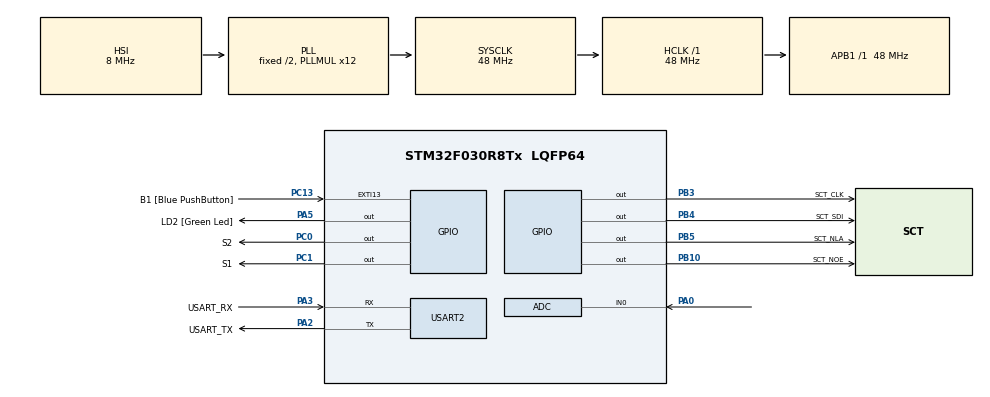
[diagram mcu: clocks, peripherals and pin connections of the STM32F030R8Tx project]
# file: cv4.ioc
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ADC.ContinuousConvMode=ENABLE
ADC.Overrun=ADC_OVR_DATA_OVERWRITTEN
ADC.SamplingTime=ADC_SAMPLETIME_239CYCLES_5
Mcu.Family=STM32F0
Mcu.Name=STM32F030R8Tx
Mcu.Package=LQFP64
NVIC.ADC1_IRQn=true\:0\:0\:false\:false\:true\:true\:true\:true
PA0.Mode=IN0
PA0.Signal=ADC_IN0
PA13.GPIO_Label=TMS
PA13.Mode=Serial_Wire
PA13.Signal=SYS_SWDIO
PA14.GPIO_Label=TCK
PA14.Mode=Serial_Wire
PA14.Signal=SYS_SWCLK
PA2.GPIO_Label=USART_TX
PA2.GPIO_Mode=GPIO_MODE_AF_PP
PA2.GPIO_PuPd=GPIO_NOPULL
PA2.GPIO_Speed=GPIO_SPEED_FREQ_LOW
PA2.Mode=Asynchronous
PA2.Signal=USART2_TX
PA3.GPIO_Label=USART_RX
PA3.GPIO_Mode=GPIO_MODE_AF_PP
PA3.GPIO_PuPd=GPIO_NOPULL
PA3.GPIO_Speed=GPIO_SPEED_FREQ_LOW
PA3.Mode=Asynchronous
PA3.Signal=USART2_RX
PA5.GPIO_Label=LD2 [Green Led]
PA5.GPIO_Mode=GPIO_MODE_OUTPUT_PP
PA5.GPIO_PuPd=GPIO_NOPULL
PA5.GPIO_Speed=GPIO_SPEED_FREQ_LOW
PA5.Signal=GPIO_Output
PB10.GPIO_Label=SCT_NOE
PB10.Signal=GPIO_Output
PB3.GPIO_Label=SCT_CLK
PB3.Signal=GPIO_Output
PB4.GPIO_Label=SCT_SDI
PB4.Signal=GPIO_Output
PB5.GPIO_Label=SCT_NLA
PB5.Signal=GPIO_Output
PC0.GPIO_Label=S2
PC0.GPIO_PuPd=GPIO_PULLUP
PC0.Signal=GPIO_Output
PC1.GPIO_Label=S1
PC1.GPIO_PuPd=GPIO_PULLUP
PC1.Signal=GPIO_Output
PC13.GPIO_Label=B1 [Blue PushButton]
PC13.GPIO_ModeDefaultEXTI=GPIO_MODE_IT_FALLING
PC13.Signal=GPXTI13
PC14-OSC32_IN.Mode=LSE-External-Oscillator
PC14-OSC32_IN.Signal=RCC_OSC32_IN
PC15-OSC32_OUT.Mode=LSE-External-Oscillator
PC15-OSC32_OUT.Signal=RCC_OSC32_OUT
PF0-OSC_IN.Mode=HSE-External-Clock-Source
PF0-OSC_IN.Signal=RCC_OSC_IN
PF1-OSC_OUT.Signal=RCC_OSC_OUT
ProjectManager.HeapSize=0x200
ProjectManager.StackSize=0x400
ProjectManager.TargetToolchain=STM32CubeIDE
RCC.AHBFreq_Value=48000000
RCC.APB1Freq_Value=48000000
RCC.APB1TimFreq_Value=48000000
RCC.HCLKFreq_Value=48000000
RCC.PLLMUL=RCC_PLL_MUL12
RCC.SYSCLKFreq_VALUE=48000000
RCC.SYSCLKSource=RCC_SYSCLKSOURCE_PLLCLK
USART2.VirtualMode-Asynchronous=VM_ASYNC
VP_ADC_TempSens_Input.Mode=IN-TempSens
VP_ADC_Vref_Input.Mode=IN-Vrefint
board=NUCLEO-F030R8

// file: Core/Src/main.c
/* USER CODE BEGIN Header */
/**
 ******************************************************************************
 * @file           : main.c
 * @brief          : Main program body
 ******************************************************************************
 * @attention
 *
 * Copyright (c) 2023 STMicroelectronics.
 * All rights reserved.
 *
 * This software is licensed under terms that can be found in the LICENSE file
 * in the root directory of this software component.
 * If no LICENSE file comes with this software, it is provided AS-IS.
 *
 ******************************************************************************
 */
/* USER CODE END Header */
#include "main.h"

/* USER CODE BEGIN Includes */
#include "sct.h"
/* USER CODE END Includes */

ADC_HandleTypeDef hadc;

UART_HandleTypeDef huart2;

void SystemClock_Config(void);
static void MX_GPIO_Init(void);
static void MX_USART2_UART_Init(void);
static void MX_ADC_Init(void);

/* USER CODE BEGIN 0 */
static volatile uint32_t raw_pot;
static volatile uint32_t raw_temp;
static volatile uint32_t raw_volt;

void HAL_ADC_ConvCpltCallback(ADC_HandleTypeDef* hadc)
{
	static uint32_t avg_pot;
	static uint8_t channel;
	if (channel == 0){
		raw_pot = avg_pot / 4096;
		avg_pot -= raw_pot;
		avg_pot += HAL_ADC_GetValue(hadc);
	} else if (channel == 1){
		raw_temp = HAL_ADC_GetValue(hadc);
	} else if (channel == 2){
		raw_volt = HAL_ADC_GetValue(hadc);
	}

	if (__HAL_ADC_GET_FLAG(hadc, ADC_FLAG_EOS)) channel = 0;
	else channel++;

	/*raw_pot = HAL_ADC_GetValue(hadc);
	 */
}

/* USER CODE END 0 */

int main(void)
{

	/* MCU Configuration--------------------------------------------------------*/

	/* Reset of all peripherals, Initializes the Flash interface and the Systick. */
	HAL_Init();

	/* Configure the system clock */
	SystemClock_Config();

	/* Initialize all configured peripherals */
	MX_GPIO_Init();
	MX_USART2_UART_Init();
	MX_ADC_Init();
	/* USER CODE BEGIN 2 */
	HAL_ADCEx_Calibration_Start(&hadc);
	HAL_ADC_Start_IT(&hadc);

	/* USER CODE END 2 */
	/* Temperature sensor calibration value address */
#define TEMP110_CAL_ADDR ((uint16_t*) ((uint32_t) 0x1FFFF7C2))
#define TEMP30_CAL_ADDR ((uint16_t*) ((uint32_t) 0x1FFFF7B8))
	/* Internal voltage reference calibration value address */
#define VREFINT_CAL_ADDR ((uint16_t*) ((uint32_t) 0x1FFFF7BA))

	/* Infinite loop */
	/* USER CODE BEGIN WHILE */
	while (1)
	{
		sct_value((raw_pot*(500+1))/4096, (raw_pot*9)/4096);

		uint32_t voltage = 330 * (*VREFINT_CAL_ADDR) / raw_volt;
		int32_t temperature = (raw_temp - (int32_t)(*TEMP30_CAL_ADDR));
		temperature = temperature * (int32_t)(110 - 30);
		temperature = temperature / (int32_t)(*TEMP110_CAL_ADDR - *TEMP30_CAL_ADDR);
		temperature = temperature + 30;

		static enum { SHOW_POT, SHOW_VOLT, SHOW_TEMP } state = SHOW_POT;

		uint32_t old_s1;
		uint32_t old_s2;
		uint32_t new_s1 = HAL_GPIO_ReadPin(S1_GPIO_Port, S1_Pin);
		uint32_t new_s2 = HAL_GPIO_ReadPin(S1_GPIO_Port, S1_Pin);

		if(old_s1 != new_s1){

		}

		switch (state){
		case SHOW_POT:
			sct_value((raw_pot*(500+1))/4096, (raw_pot*9)/4096);
			state = SHOW_POT;
			HAL_Delay(1000);
			break;
		case SHOW_VOLT:
			sct_value(voltage, (raw_pot*9)/4096);
			state = SHOW_POT;
			HAL_Delay(1000);
		case SHOW_TEMP:
			sct_value(temperature, (raw_pot*9)/4096);
			state = SHOW_POT;
			HAL_Delay(1000);
		}

		/* USER CODE END WHILE */

	}
}

void SystemClock_Config(void)
{
	RCC_OscInitTypeDef RCC_OscInitStruct = {0};
	RCC_ClkInitTypeDef RCC_ClkInitStruct = {0};

	/** Initializes the RCC Oscillators according to the specified parameters
	 * in the RCC_OscInitTypeDef structure.
	 */
	RCC_OscInitStruct.OscillatorType = RCC_OSCILLATORTYPE_HSI|RCC_OSCILLATORTYPE_HSI14;
	RCC_OscInitStruct.HSIState = RCC_HSI_ON;
	RCC_OscInitStruct.HSI14State = RCC_HSI14_ON;
	RCC_OscInitStruct.HSICalibrationValue = RCC_HSICALIBRATION_DEFAULT;
	RCC_OscInitStruct.HSI14CalibrationValue = 16;
	RCC_OscInitStruct.PLL.PLLState = RCC_PLL_ON;
	RCC_OscInitStruct.PLL.PLLSource = RCC_PLLSOURCE_HSI;
	RCC_OscInitStruct.PLL.PLLMUL = RCC_PLL_MUL12;
	RCC_OscInitStruct.PLL.PREDIV = RCC_PREDIV_DIV1;
	if (HAL_RCC_OscConfig(&RCC_OscInitStruct) != HAL_OK)
	{
		Error_Handler();
	}

	/** Initializes the CPU, AHB and APB buses clocks
	 */
	RCC_ClkInitStruct.ClockType = RCC_CLOCKTYPE_HCLK|RCC_CLOCKTYPE_SYSCLK
			|RCC_CLOCKTYPE_PCLK1;
	RCC_ClkInitStruct.SYSCLKSource = RCC_SYSCLKSOURCE_PLLCLK;
	RCC_ClkInitStruct.AHBCLKDivider = RCC_SYSCLK_DIV1;
	RCC_ClkInitStruct.APB1CLKDivider = RCC_HCLK_DIV1;

	if (HAL_RCC_ClockConfig(&RCC_ClkInitStruct, FLASH_LATENCY_1) != HAL_OK)
	{
		Error_Handler();
	}
}

static void MX_ADC_Init(void)
{

	ADC_ChannelConfTypeDef sConfig = {0};

	/** Configure the global features of the ADC (Clock, Resolution, Data Alignment and number of conversion)
	 */
	hadc.Instance = ADC1;
	hadc.Init.ClockPrescaler = ADC_CLOCK_ASYNC_DIV1;
	hadc.Init.Resolution = ADC_RESOLUTION_12B;
	hadc.Init.DataAlign = ADC_DATAALIGN_RIGHT;
	hadc.Init.ScanConvMode = ADC_SCAN_DIRECTION_FORWARD;
	hadc.Init.EOCSelection = ADC_EOC_SINGLE_CONV;
	hadc.Init.LowPowerAutoWait = DISABLE;
	hadc.Init.LowPowerAutoPowerOff = DISABLE;
	hadc.Init.ContinuousConvMode = ENABLE;
	hadc.Init.DiscontinuousConvMode = DISABLE;
	hadc.Init.ExternalTrigConv = ADC_SOFTWARE_START;
	hadc.Init.ExternalTrigConvEdge = ADC_EXTERNALTRIGCONVEDGE_NONE;
	hadc.Init.DMAContinuousRequests = DISABLE;
	hadc.Init.Overrun = ADC_OVR_DATA_OVERWRITTEN;
	if (HAL_ADC_Init(&hadc) != HAL_OK)
	{
		Error_Handler();
	}

	/** Configure for the selected ADC regular channel to be converted.
	 */
	sConfig.Channel = ADC_CHANNEL_0;
	sConfig.Rank = ADC_RANK_CHANNEL_NUMBER;
	sConfig.SamplingTime = ADC_SAMPLETIME_239CYCLES_5;
	if (HAL_ADC_ConfigChannel(&hadc, &sConfig) != HAL_OK)
	{
		Error_Handler();
	}

	/** Configure for the selected ADC regular channel to be converted.
	 */
	sConfig.Channel = ADC_CHANNEL_TEMPSENSOR;
	if (HAL_ADC_ConfigChannel(&hadc, &sConfig) != HAL_OK)
	{
		Error_Handler();
	}

	/** Configure for the selected ADC regular channel to be converted.
	 */
	sConfig.Channel = ADC_CHANNEL_VREFINT;
	if (HAL_ADC_ConfigChannel(&hadc, &sConfig) != HAL_OK)
	{
		Error_Handler();
	}

}

static void MX_USART2_UART_Init(void)
{

	huart2.Instance = USART2;
	huart2.Init.BaudRate = 38400;
	huart2.Init.WordLength = UART_WORDLENGTH_8B;
	huart2.Init.StopBits = UART_STOPBITS_1;
	huart2.Init.Parity = UART_PARITY_NONE;
	huart2.Init.Mode = UART_MODE_TX_RX;
	huart2.Init.HwFlowCtl = UART_HWCONTROL_NONE;
	huart2.Init.OverSampling = UART_OVERSAMPLING_16;
	huart2.Init.OneBitSampling = UART_ONE_BIT_SAMPLE_DISABLE;
	huart2.AdvancedInit.AdvFeatureInit = UART_ADVFEATURE_NO_INIT;
	if (HAL_UART_Init(&huart2) != HAL_OK)
	{
		Error_Handler();
	}

}

static void MX_GPIO_Init(void)
{
	GPIO_InitTypeDef GPIO_InitStruct = {0};

	/* GPIO Ports Clock Enable */
	__HAL_RCC_GPIOC_CLK_ENABLE();
	__HAL_RCC_GPIOF_CLK_ENABLE();
	__HAL_RCC_GPIOA_CLK_ENABLE();
	__HAL_RCC_GPIOB_CLK_ENABLE();

	/*Configure GPIO pin Output Level */
	HAL_GPIO_WritePin(GPIOC, S2_Pin|S1_Pin, GPIO_PIN_RESET);

	/*Configure GPIO pin Output Level */
	HAL_GPIO_WritePin(LD2_GPIO_Port, LD2_Pin, GPIO_PIN_RESET);

	/*Configure GPIO pin Output Level */
	HAL_GPIO_WritePin(GPIOB, SCT_NOE_Pin|SCT_CLK_Pin|SCT_SDI_Pin|SCT_NLA_Pin, GPIO_PIN_RESET);

	/*Configure GPIO pin : B1_Pin */
	GPIO_InitStruct.Pin = B1_Pin;
	GPIO_InitStruct.Mode = GPIO_MODE_IT_FALLING;
	GPIO_InitStruct.Pull = GPIO_NOPULL;
	HAL_GPIO_Init(B1_GPIO_Port, &GPIO_InitStruct);

	/*Configure GPIO pins : S2_Pin S1_Pin */
	GPIO_InitStruct.Pin = S2_Pin|S1_Pin;
	GPIO_InitStruct.Mode = GPIO_MODE_OUTPUT_PP;
	GPIO_InitStruct.Pull = GPIO_PULLUP;
	GPIO_InitStruct.Speed = GPIO_SPEED_FREQ_LOW;
	HAL_GPIO_Init(GPIOC, &GPIO_InitStruct);

	/*Configure GPIO pin : LD2_Pin */
	GPIO_InitStruct.Pin = LD2_Pin;
	GPIO_InitStruct.Mode = GPIO_MODE_OUTPUT_PP;
	GPIO_InitStruct.Pull = GPIO_NOPULL;
	GPIO_InitStruct.Speed = GPIO_SPEED_FREQ_LOW;
	HAL_GPIO_Init(LD2_GPIO_Port, &GPIO_InitStruct);

	/*Configure GPIO pins : SCT_NOE_Pin SCT_CLK_Pin SCT_SDI_Pin SCT_NLA_Pin */
	GPIO_InitStruct.Pin = SCT_NOE_Pin|SCT_CLK_Pin|SCT_SDI_Pin|SCT_NLA_Pin;
	GPIO_InitStruct.Mode = GPIO_MODE_OUTPUT_PP;
	GPIO_InitStruct.Pull = GPIO_NOPULL;
	GPIO_InitStruct.Speed = GPIO_SPEED_FREQ_LOW;
	HAL_GPIO_Init(GPIOB, &GPIO_InitStruct);

}

void Error_Handler(void)
{
	__disable_irq();
	while (1)
	{
	}
}
